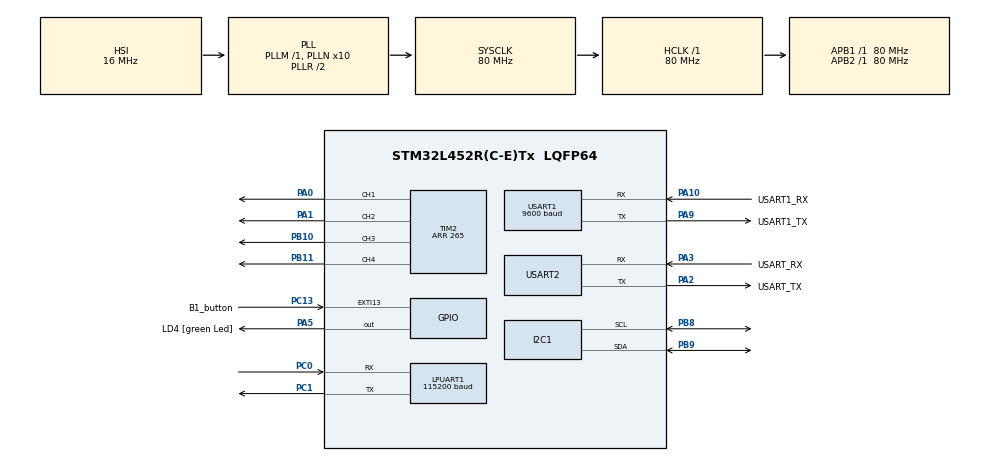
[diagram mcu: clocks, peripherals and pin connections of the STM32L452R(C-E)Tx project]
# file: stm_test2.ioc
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Dma.Request0=TIM2_UP
Dma.TIM2_UP.0.Direction=DMA_MEMORY_TO_PERIPH
Dma.TIM2_UP.0.Instance=DMA1_Channel2
Dma.TIM2_UP.0.MemDataAlignment=DMA_MDATAALIGN_WORD
Dma.TIM2_UP.0.MemInc=DMA_MINC_ENABLE
Dma.TIM2_UP.0.Mode=DMA_NORMAL
Dma.TIM2_UP.0.PeriphDataAlignment=DMA_PDATAALIGN_WORD
Dma.TIM2_UP.0.PeriphInc=DMA_PINC_DISABLE
Dma.TIM2_UP.0.Priority=DMA_PRIORITY_LOW
FREERTOS.Tasks01=defaultTask,24,128,StartDefaultTask,Default,NULL,Dynamic,NULL,NULL
I2C1.Timing=0x10D19CE4
IWDG.Prescaler=IWDG_PRESCALER_64
IWDG.Reload=2000
LPUART1.BaudRate=115200
LPUART1.WordLength=UART_WORDLENGTH_8B
Mcu.Family=STM32L4
Mcu.Name=STM32L452R(C-E)Tx
Mcu.Package=LQFP64
NVIC.DMA1_Channel2_IRQn=true\:5\:0\:false\:false\:true\:true\:false\:true\:true
NVIC.EXTI15_10_IRQn=true\:5\:0\:false\:false\:true\:true\:true\:true\:true
NVIC.LPUART1_IRQn=true\:5\:0\:false\:false\:true\:true\:true\:true\:true
NVIC.PriorityGroup=NVIC_PRIORITYGROUP_4
NVIC.USART1_IRQn=true\:5\:0\:false\:false\:true\:true\:true\:true\:true
PA0.Signal=S_TIM2_CH1
PA1.Signal=S_TIM2_CH2
PA10.GPIO_Label=USART1_RX
PA10.Mode=Asynchronous
PA10.Signal=USART1_RX
PA13\ (JTMS/SWDIO).GPIO_Label=TMS
PA13\ (JTMS/SWDIO).Mode=Serial_Wire
PA13\ (JTMS/SWDIO).Signal=SYS_JTMS-SWDIO
PA14\ (JTCK/SWCLK).GPIO_Label=TCK
PA14\ (JTCK/SWCLK).Mode=Serial_Wire
PA14\ (JTCK/SWCLK).Signal=SYS_JTCK-SWCLK
PA2.GPIO_Label=USART_TX
PA2.GPIO_Mode=GPIO_MODE_AF_PP
PA2.GPIO_PuPd=GPIO_NOPULL
PA2.GPIO_Speed=GPIO_SPEED_FREQ_VERY_HIGH
PA2.Mode=Asynchronous
PA2.Signal=USART2_TX
PA3.GPIO_Label=USART_RX
PA3.GPIO_Mode=GPIO_MODE_AF_PP
PA3.GPIO_PuPd=GPIO_NOPULL
PA3.GPIO_Speed=GPIO_SPEED_FREQ_VERY_HIGH
PA3.Mode=Asynchronous
PA3.Signal=USART2_RX
PA5.GPIO_Label=LD4 [green Led]
PA5.GPIO_ModeDefaultOutputPP=GPIO_MODE_OUTPUT_PP
PA5.GPIO_PuPd=GPIO_NOPULL
PA5.GPIO_Speed=GPIO_SPEED_FREQ_HIGH
PA5.Signal=GPIO_Output
PA9.GPIO_Label=USART1_TX
PA9.Mode=Asynchronous
PA9.Signal=USART1_TX
PB10.Signal=S_TIM2_CH3
PB11.Signal=S_TIM2_CH4
PB3\ (JTDO/TRACESWO).GPIO_Label=SWO
PB3\ (JTDO/TRACESWO).Signal=SYS_JTDO-SWO
PB8.Mode=I2C
PB8.Signal=I2C1_SCL
PB9.Mode=I2C
PB9.Signal=I2C1_SDA
PC0.Mode=Asynchronous
PC0.Signal=LPUART1_RX
PC1.Mode=Asynchronous
PC1.Signal=LPUART1_TX
PC13.GPIO_Label=B1_button
PC13.GPIO_ModeDefaultEXTI=GPIO_MODE_IT_FALLING
PC13.Signal=GPXTI13
PC14-OSC32_IN\ (PC14).Mode=LSE-External-Oscillator
PC14-OSC32_IN\ (PC14).Signal=RCC_OSC32_IN
PC15-OSC32_OUT\ (PC15).Mode=LSE-External-Oscillator
PC15-OSC32_OUT\ (PC15).Signal=RCC_OSC32_OUT
PH0-OSC_IN\ (PH0).Signal=RCC_OSC_IN
PH1-OSC_OUT\ (PH1).Signal=RCC_OSC_OUT
ProjectManager.HeapSize=0x200
ProjectManager.StackSize=0x400
ProjectManager.TargetToolchain=STM32CubeIDE
RCC.ADCFreq_Value=64000000
RCC.AHBFreq_Value=80000000
RCC.APB1Freq_Value=80000000
RCC.APB1TimFreq_Value=80000000
RCC.APB2Freq_Value=80000000
RCC.APB2TimFreq_Value=80000000
RCC.CortexFreq_Value=80000000
RCC.HCLKFreq_Value=80000000
RCC.HSE_VALUE=8000000
RCC.HSI48_VALUE=48000000
RCC.HSI_VALUE=16000000
RCC.MSI_VALUE=4000000
RCC.PLLN=10
RCC.PLLSourceVirtual=RCC_PLLSOURCE_HSI
RCC.PREFETCH_ENABLE=1
RCC.SYSCLKFreq_VALUE=80000000
RCC.SYSCLKSource=RCC_SYSCLKSOURCE_PLLCLK
RCC.USBFreq_Value=64000000
RCC.VCOOutputFreq_Value=160000000
SH.S_TIM2_CH1.0=TIM2_CH1,PWM Generation1 CH1
SH.S_TIM2_CH2.0=TIM2_CH2,PWM Generation2 CH2
SH.S_TIM2_CH3.0=TIM2_CH3,PWM Generation3 CH3
SH.S_TIM2_CH4.0=TIM2_CH4,PWM Generation4 CH4
TIM2.AutoReloadPreload=TIM_AUTORELOAD_PRELOAD_ENABLE
TIM2.Channel-PWM\ Generation1\ CH1=TIM_CHANNEL_1
TIM2.Channel-PWM\ Generation2\ CH2=TIM_CHANNEL_2
TIM2.Channel-PWM\ Generation3\ CH3=TIM_CHANNEL_3
TIM2.Channel-PWM\ Generation4\ CH4=TIM_CHANNEL_4
TIM2.Period=265
USART1.BaudRate=9600
USART1.VirtualMode-Asynchronous=VM_ASYNC
USART2.VirtualMode-Asynchronous=VM_ASYNC
VP_FREERTOS_VS_CMSIS_V2.Mode=CMSIS_V2
VP_IWDG_VS_IWDG.Mode=IWDG_Activate
board=NUCLEO-L452RE

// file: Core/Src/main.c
/* USER CODE BEGIN Header */
/**
  ******************************************************************************
  * @file           : main.c
  * @brief          : Main program body
  ******************************************************************************
  * @attention
  *
  * Copyright (c) 2026 STMicroelectronics.
  * All rights reserved.
  *
  * This software is licensed under terms that can be found in the LICENSE file
  * in the root directory of this software component.
  * If no LICENSE file comes with this software, it is provided AS-IS.
  *
  ******************************************************************************
  */
/* USER CODE END Header */
#include "main.h"
#include "cmsis_os.h"
#include "dma.h"
#include "i2c.h"
#include "iwdg.h"
#include "usart.h"
#include "tim.h"
#include "gpio.h"

/* USER CODE BEGIN Includes */
#include "i2c.h"
#include "ssd1306.h"
#include "ssd1306_fonts.h"
#include "iwdg.h"
#include <stdio.h>
#include <math.h>
#include "app_types.h"
#include "app_globals.h"
#include "task_sensor.h"
#include "task_filter.h"
#include "task_display.h"
#include "task_log.h"
#include "task_watchdog.h"
#include "task_control.h"
#include "task_gps.h"
#include "task_baro.h"
#include "task_rc.h"
#include "task_telemetry.h"
/* USER CODE END Includes */

/* USER CODE BEGIN PD */
#define PRESSED   1
/* USER CODE END PD */

void SystemClock_Config(void);
void MX_FREERTOS_Init(void);
/* USER CODE BEGIN PFP */

void  task_sensor(void *argument);
//void task_print(void *argument);
void task_display(void *argument);
void task_log(void *argument);
void task_watchdog(void *argument);
void task_filter(void *argument);
void task_baro(void *argument);
void task_gps(void *argument);
void task_control(void *argument);
void task_rc(void *argument);
void task_telemetry(void *argument);
//void task_blink_fast(void *argument);
//void task_blink_slow(void *argument);
/* USER CODE END PFP */

/* USER CODE BEGIN 0 */
#include <stdio.h>
#include <string.h>

int __io_putchar(int ch)
{
    HAL_UART_Transmit(&huart2, (uint8_t *)&ch, 1, HAL_MAX_DELAY);
    return ch;
}
/* USER CODE END 0 */

int main(void)
{

  /* MCU Configuration--------------------------------------------------------*/

  /* Reset of all peripherals, Initializes the Flash interface and the Systick. */
  HAL_Init();

  /* Configure the system clock */
  SystemClock_Config();

  /* Initialize all configured peripherals */
  MX_GPIO_Init();
  MX_DMA_Init();
  MX_USART2_UART_Init();
  MX_I2C1_Init();
  MX_IWDG_Init();
  MX_USART1_UART_Init();
  MX_LPUART1_UART_Init();
  MX_TIM2_Init();
  /* USER CODE BEGIN 2 */
  printf("Booting...\r\n");
  HAL_TIM_PWM_Start(&htim2, TIM_CHANNEL_1);
  HAL_TIM_PWM_Start(&htim2, TIM_CHANNEL_2);
  HAL_TIM_PWM_Start(&htim2, TIM_CHANNEL_3);
  HAL_TIM_PWM_Start(&htim2, TIM_CHANNEL_4);
  /* USER CODE END 2 */

  /* Init scheduler */
  osKernelInitialize();  /* Call init function for freertos objects (in cmsis_os2.c) */
  MX_FREERTOS_Init();

  /* Start scheduler */
  osKernelStart();

  /* We should never get here as control is now taken by the scheduler */

  /* Infinite loop */
  while (1)
  {

    /* USER CODE BEGIN 3 */

//	  if (HAL_GPIO_ReadPin(B1_button_GPIO_Port, B1_button_Pin) == PRESSED){
//		  HAL_GPIO_WritePin(LD4_GPIO_Port, LD4_Pin, SET);
//	  }
//	  else{
//		  HAL_GPIO_WritePin(LD4_GPIO_Port, LD4_Pin, RESET);
//	  }
//	  HAL_GPIO_WritePin(LD4_GPIO_Port, LD4_Pin, GPIO_PIN_SET);
//	  HAL_Delay(1000);
//	  HAL_GPIO_WritePin(LD4_GPIO_Port, LD4_Pin, GPIO_PIN_RESET);
//	  HAL_Delay(1000);
  }
  /* USER CODE END 3 */
}

void SystemClock_Config(void)
{
  RCC_OscInitTypeDef RCC_OscInitStruct = {0};
  RCC_ClkInitTypeDef RCC_ClkInitStruct = {0};

  /** Configure the main internal regulator output voltage
  */
  if (HAL_PWREx_ControlVoltageScaling(PWR_REGULATOR_VOLTAGE_SCALE1) != HAL_OK)
  {
    Error_Handler();
  }

  /** Initializes the RCC Oscillators according to the specified parameters
  * in the RCC_OscInitTypeDef structure.
  */
  RCC_OscInitStruct.OscillatorType = RCC_OSCILLATORTYPE_HSI|RCC_OSCILLATORTYPE_LSI;
  RCC_OscInitStruct.HSIState = RCC_HSI_ON;
  RCC_OscInitStruct.HSICalibrationValue = 64;
  RCC_OscInitStruct.LSIState = RCC_LSI_ON;
  RCC_OscInitStruct.PLL.PLLState = RCC_PLL_ON;
  RCC_OscInitStruct.PLL.PLLSource = RCC_PLLSOURCE_HSI;
  RCC_OscInitStruct.PLL.PLLM = 1;
  RCC_OscInitStruct.PLL.PLLN = 10;
  RCC_OscInitStruct.PLL.PLLP = RCC_PLLP_DIV7;
  RCC_OscInitStruct.PLL.PLLQ = RCC_PLLQ_DIV2;
  RCC_OscInitStruct.PLL.PLLR = RCC_PLLR_DIV2;
  if (HAL_RCC_OscConfig(&RCC_OscInitStruct) != HAL_OK)
  {
    Error_Handler();
  }

  /** Initializes the CPU, AHB and APB buses clocks
  */
  RCC_ClkInitStruct.ClockType = RCC_CLOCKTYPE_HCLK|RCC_CLOCKTYPE_SYSCLK
                              |RCC_CLOCKTYPE_PCLK1|RCC_CLOCKTYPE_PCLK2;
  RCC_ClkInitStruct.SYSCLKSource = RCC_SYSCLKSOURCE_PLLCLK;
  RCC_ClkInitStruct.AHBCLKDivider = RCC_SYSCLK_DIV1;
  RCC_ClkInitStruct.APB1CLKDivider = RCC_HCLK_DIV1;
  RCC_ClkInitStruct.APB2CLKDivider = RCC_HCLK_DIV1;

  if (HAL_RCC_ClockConfig(&RCC_ClkInitStruct, FLASH_LATENCY_4) != HAL_OK)
  {
    Error_Handler();
  }
}

/* USER CODE BEGIN 4 */

//void task_sensor(void *argument)
//{
//	while (uart_mutex == NULL || imu_queue == NULL || i2c_mutex == NULL) osDelay(1);
//
//	uint8_t raw[24];
//	IMUData_t data;
//
//	uint8_t wake = 0x00;
//	osMutexAcquire(i2c_mutex, osWaitForever);
//	HAL_I2C_Mem_Write(&hi2c1, 0x68 << 1, 0x6B, I2C_MEMADD_SIZE_8BIT, &wake, 1, HAL_MAX_DELAY);
//	osMutexRelease(i2c_mutex);
//
//	for (;;)
//	{
//		osMutexAcquire(i2c_mutex, osWaitForever);
//		HAL_I2C_Mem_Read(&hi2c1, 0x68 << 1, 0x3B, I2C_MEMADD_SIZE_8BIT, raw, 14, HAL_MAX_DELAY);
//		osMutexRelease(i2c_mutex);
//
//        data.accel_x = (int16_t)(raw[0] << 8 | raw[1]);
//        data.accel_y = (int16_t)(raw[2] << 8 | raw[3]);
//        data.accel_z = (int16_t)(raw[4] << 8 | raw[5]);
//
//        data.gyro_x = (int16_t)(raw[8]  << 8 | raw[9]);
//        data.gyro_y  = (int16_t)(raw[10] << 8 | raw[11]);
//        data.gyro_z  = (int16_t)(raw[12] << 8 | raw[13]);
//
//        osMessageQueuePut(imu_queue, &data, 0, 0);
//        osDelay(10); // 100Hz
//
//	}
//}
//
////void task_print(void *argument)
////{
////    while (uart_mutex == NULL || imu_queue == NULL) osDelay(1);
////
////    IMUData_t data;
////
////    for (;;)
////    {
////        // Block until a reading is available
////        if (osMessageQueueGet(imu_queue, &data, NULL, osWaitForever) == osOK)
////        {
////        	if (logging_enabled)
////        	{
////        		osMutexAcquire(uart_mutex, osWaitForever);
////        		printf("AX: %6d  AY: %6d  AZ: %6d\r\n",
////                   data.accel_x, data.accel_y, data.accel_z);
////        		osMutexRelease(uart_mutex);
////        	}
////        }
////    }
////}
//
//void task_display(void *argument)
//{
//    while (uart_mutex == NULL || i2c_mutex == NULL || attitude_queue == NULL) osDelay(1);
//
//    // Initialize OLED
//    osMutexAcquire(i2c_mutex, osWaitForever);
//    ssd1306_Init();
//    osMutexRelease(i2c_mutex);
//
//    Attitude_t att;
//    char buf[32];
//
//    for (;;)
//    {
//        if (osMessageQueueGet(attitude_queue, &att, NULL, osWaitForever) == osOK)
//        {
//            osMutexAcquire(i2c_mutex, osWaitForever);
//
//            ssd1306_Fill(Black);
//
//            ssd1306_SetCursor(0, 0);
//            snprintf(buf, sizeof(buf), "Roll: %.1f deg", att.roll);
//            ssd1306_WriteString(buf, Font_7x10, White);
//
//            ssd1306_SetCursor(0, 16);
//            snprintf(buf, sizeof(buf), "Pitch: %.1f deg", att.pitch);
//            ssd1306_WriteString(buf, Font_7x10, White);
//
//
//            ssd1306_UpdateScreen();
//
//            osMutexRelease(i2c_mutex);
//        }
//    }
//}
//
//void task_log(void *argument)
//{
//    while (uart_mutex == NULL || button_sem == NULL) osDelay(1);
//
//    for (;;)
//    {
//        // Block until button is pressed
//        osSemaphoreAcquire(button_sem, osWaitForever);
//
//        // Toggle logging state
//        logging_enabled = !logging_enabled;
//
//        osMutexAcquire(uart_mutex, osWaitForever);
//        if (logging_enabled)
//            printf("[LOG] Logging ON\r\n");
//        else
//            printf("[LOG] Logging OFF\r\n");
//        osMutexRelease(uart_mutex);
//    }
//}
//
//void task_watchdog(void *argument)
//{
//	for (;;)
//	{
//			HAL_IWDG_Refresh(&hiwdg);
//			osDelay(500);
//	}
//}
//
//void task_filter(void *argument)
//{
//	while (imu_queue == NULL || attitude_queue == NULL) osDelay(1);
//
//	IMUData_t imu;
//	Attitude_t att = {0.0f, 0.0f};
//
//	const float ACCEL_SCALE = 16384.0f;
//	const float GYRO_SCALE = 131.0f;
//	const float ALPHA = 0.98f;
//	const float dt = 0.01f;
//
//	for (;;)
//	{
//		if (osMessageQueueGet(imu_queue, &imu, NULL, osWaitForever) == osOK)
//		{
//			float ax = imu.accel_x / ACCEL_SCALE;
//		    float ay = imu.accel_y / ACCEL_SCALE;
//		    float az = imu.accel_z / ACCEL_SCALE;
//		    float gx = imu.gyro_x  / GYRO_SCALE;  // degrees/sec
//		    float gy = imu.gyro_y  / GYRO_SCALE;
//
//		    float roll_accel  = atan2f(ay, az) * 180.0f / 3.14159f;
//		    float pitch_accel = atan2f(-ax, sqrtf(ay*ay + az*az)) * 180.0f / 3.14159f;
//
//		    // Complementary filter
//		    att.roll  = ALPHA * (att.roll  + gx * dt) + (1.0f - ALPHA) * roll_accel;
//		    att.pitch = ALPHA * (att.pitch + gy * dt) + (1.0f - ALPHA) * pitch_accel;
//
//		    osMessageQueuePut(attitude_queue, &att, 0, 0);
//	    }
//	}
//}

//void task_blink_fast(void *argument)
//{
////    uint32_t count = 0;
//    for (;;)
//    {
////    	osMutexAcquire(uart_mutex, osWaitForever);
////        HAL_UART_Transmit(&huart2, (uint8_t *)"[FAST]------\r\n", 14, HAL_MAX_DELAY);
////        osMutexRelease(uart_mutex);
////        osDelay(1);  // 1ms — hammering as fast as possible
//    }
//}

//void task_blink_slow(void *argument)
//{
////    uint32_t count = 0;
//    for (;;)
//    {
////    	osMutexAcquire(uart_mutex, osWaitForever);
////        HAL_UART_Transmit(&huart2, (uint8_t *)"[SLOW]......\r\n", 14, HAL_MAX_DELAY);
////        osMutexRelease(uart_mutex);
////        osDelay(1);
//    }
//}
/* USER CODE END 4 */

void Error_Handler(void)
{
  __disable_irq();
  while (1)
  {
  }
}

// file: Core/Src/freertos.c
/* USER CODE BEGIN Header */
/**
  ******************************************************************************
  * File Name          : freertos.c
  * Description        : Code for freertos applications
  ******************************************************************************
  * @attention
  *
  * Copyright (c) 2026 STMicroelectronics.
  * All rights reserved.
  *
  * This software is licensed under terms that can be found in the LICENSE file
  * in the root directory of this software component.
  * If no LICENSE file comes with this software, it is provided AS-IS.
  *
  ******************************************************************************
  */
/* USER CODE END Header */

#include "FreeRTOS.h"
#include "task.h"
#include "main.h"
#include "cmsis_os.h"

/* USER CODE BEGIN Includes */
#include "i2c.h"
#include <stdio.h>
#include "app_types.h"
#include "app_globals.h"
#include "task_sensor.h"
#include "task_filter.h"
#include "task_display.h"
#include "task_log.h"
#include "task_watchdog.h"
#include "task_baro.h"
#include "task_control.h"
#include "task_gps.h"
#include "task_rc.h"
#include "task_telemetry.h"

void task_sensor(void *argument);
//void task_print(void *argument);
void task_display(void *argument);
void task_log(void *argument);
void task_watchdog(void *argument);
void task_filter(void *argument);
void task_gps(void *argument);
void task_control(void *argument);
void task_baro(void *argument);
void task_rc(void *argument);
void task_telemetry(void* argument);
/* USER CODE END Includes */

/* USER CODE BEGIN Variables */
osMutexId_t uart_mutex;
osMutexId_t i2c_mutex;
osMessageQueueId_t imu_queue;
osMessageQueueId_t state_queue;
osMessageQueueId_t control_state_queue;
osSemaphoreId_t button_sem;
volatile uint8_t logging_enabled = 1;
osMessageQueueId_t baro_queue;
osMessageQueueId_t gps_queue;
volatile uint8_t armed = 0;
volatile float throttle = 0.0f;
osMessageQueueId_t rc_queue;
volatile uint32_t rc_last_packet_ms = 0;
osMessageQueueId_t telemetry_queue;

/* USER CODE END Variables */
/* Definitions for defaultTask */
osThreadId_t defaultTaskHandle;
const osThreadAttr_t defaultTask_attributes = {
  .name = "defaultTask",
  .stack_size = 128 * 4,
  .priority = (osPriority_t) osPriorityNormal,
};

/* USER CODE BEGIN FunctionPrototypes */
const osThreadAttr_t sensor_task_attributes = {
    .name = "sensor",
    .stack_size = 256 * 4,
    .priority = (osPriority_t) osPriorityAboveNormal,
};

const osThreadAttr_t display_task_attributes = {
    .name = "display",
    .stack_size = 256 * 4,
    .priority = (osPriority_t) osPriorityNormal,
};

const osThreadAttr_t print_task_attributes = {
    .name = "print",
    .stack_size = 256 * 4,
    .priority = (osPriority_t) osPriorityNormal,
};

const osThreadAttr_t log_task_attributes = {
    .name = "log",
    .stack_size = 256 * 4,
    .priority = (osPriority_t) osPriorityNormal,
};

const osThreadAttr_t watchdog_task_attributes = {
    .name = "watchdog",
    .stack_size = 128 * 4,
    .priority = (osPriority_t) osPriorityHigh,
};

const osThreadAttr_t filter_task_attributes = {
    .name = "filter",
    .stack_size = 512 * 4,
    .priority = (osPriority_t) osPriorityAboveNormal,
};

const osThreadAttr_t baro_task_attributes = {
    .name = "baro",
    .stack_size = 256 * 4,
    .priority = (osPriority_t) osPriorityNormal,
};

const osThreadAttr_t control_task_attributes = {
    .name = "control",
    .stack_size = 256 * 4,
    .priority = (osPriority_t) osPriorityAboveNormal,
};

const osThreadAttr_t gps_task_attributes = {
    .name = "gps",
    .stack_size = 512 * 4,
    .priority = (osPriority_t) osPriorityNormal,
};

const osThreadAttr_t rc_task_attributes = {
    .name = "rc",
    .stack_size = 256 * 4,
    .priority = (osPriority_t) osPriorityAboveNormal,
};

const osThreadAttr_t telemetry_task_attributes = {
    .name = "telemetry",
    .stack_size = 256 * 4,
    .priority = (osPriority_t) osPriorityNormal,
};
/* USER CODE END FunctionPrototypes */

void StartDefaultTask(void *argument);

void MX_FREERTOS_Init(void); /* (MISRA C 2004 rule 8.1) */

void MX_FREERTOS_Init(void) {

  /* USER CODE BEGIN RTOS_MUTEX */
  /* add mutexes, ... */
	uart_mutex = osMutexNew(NULL);
	i2c_mutex = osMutexNew(NULL);
	button_sem = osSemaphoreNew(1, 0, NULL);
  /* USER CODE END RTOS_MUTEX */

  /* USER CODE BEGIN RTOS_QUEUES */
  /* add queues, ... */
	imu_queue = osMessageQueueNew(10, sizeof(IMUData_t), NULL);
	state_queue = osMessageQueueNew(10, sizeof(FlightState_t), NULL);
	control_state_queue = osMessageQueueNew(10, sizeof(FlightState_t), NULL);
	baro_queue = osMessageQueueNew(5, sizeof(BarData_t), NULL);
	gps_queue = osMessageQueueNew(5, sizeof(GPSData_t), NULL);
	rc_queue = osMessageQueueNew(5, sizeof(RCInput_t), NULL);
	telemetry_queue = osMessageQueueNew(5, sizeof(TelemetryPckt_t), NULL);
  /* USER CODE END RTOS_QUEUES */

  /* Create the thread(s) */
  /* creation of defaultTask */
  defaultTaskHandle = osThreadNew(StartDefaultTask, NULL, &defaultTask_attributes);

  /* USER CODE BEGIN RTOS_THREADS */
  /* add threads, ... */

  osThreadNew(task_sensor, NULL, &sensor_task_attributes);
//  osThreadNew(task_print, NULL, &print_task_attributes);
  osThreadNew(task_display, NULL, &display_task_attributes);
  osThreadNew(task_log, NULL, &log_task_attributes);
  osThreadNew(task_watchdog, NULL, &watchdog_task_attributes);
  osThreadNew(task_filter, NULL, &filter_task_attributes);
  osThreadNew(task_baro, NULL, &baro_task_attributes);
  osThreadNew(task_control, NULL, &control_task_attributes);
  osThreadNew(task_gps, NULL, &gps_task_attributes);
  osThreadNew(task_rc, NULL, &rc_task_attributes);
  osThreadNew(task_telemetry, NULL, &telemetry_task_attributes);
  /* USER CODE END RTOS_THREADS */

}

void StartDefaultTask(void *argument)
{
  for(;;)
  {
    osDelay(1);
  }
}
